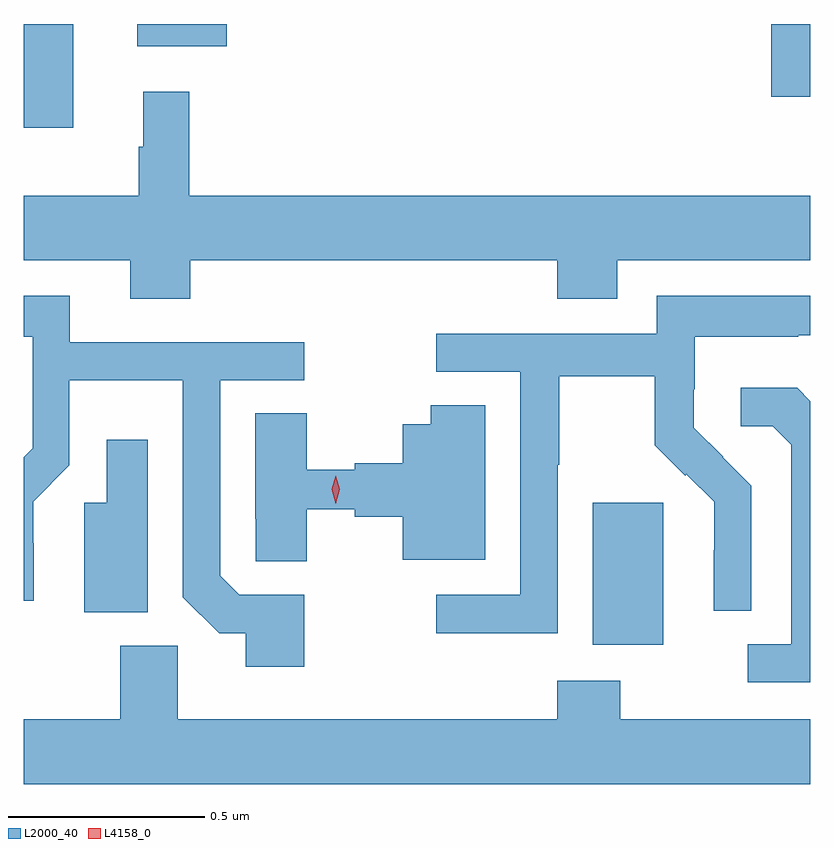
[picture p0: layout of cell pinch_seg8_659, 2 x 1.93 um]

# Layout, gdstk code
import gdstk
lib = gdstk.Library(unit=1e-6, precision=1e-09)
def R(c, l, rs):  # rectangles x0, y0, x1, y1
    for r in rs: c.add(gdstk.rectangle(r[:2], r[2:], *l))
def P(c, l, *ps):  # polygons
    for p in ps: c.add(gdstk.Polygon(p, *l))
L2000_40 = (2000, 40)
L4158_0 = (4158, 0)

pinch_seg8_659 = lib.new_cell('pinch_seg8_659')
R(pinch_seg8_659, L2000_40, [(282.317,1110.194,282.496,1110.555), (280.87,1111.508,280.996,1111.772), (282.77,1111.587,282.87,1111.772), (281.159,1111.715,281.386,1111.772)])
P(pinch_seg8_659, L2000_40, [(281.291,1111.6),(281.174,1111.6),(281.174,1111.46),(281.163,1111.46),(281.163,1111.336),(280.87,1111.336),(280.87,1111.172),(281.141,1111.172),(281.141,1111.073),(281.294,1111.073),(281.294,1111.172),(282.227,1111.172),(282.227,1111.073),(282.379,1111.073),(282.379,1111.172),(282.87,1111.172),(282.87,1111.336),(281.291,1111.336)],
  [(281.583,1110.321),(281.418,1110.321),(281.37,1110.369),(281.37,1110.867),(281.584,1110.867),(281.584,1110.963),(280.987,1110.963),(280.987,1111.081),(280.87,1111.081),(280.87,1110.977),(280.893,1110.977),(280.893,1110.693),(280.87,1110.67),(280.87,1110.306),(280.896,1110.306),(280.896,1110.452),(280.895,1110.452),(280.895,1110.558),(280.986,1110.65),(280.986,1110.866),(281.274,1110.866),(281.274,1110.315),(281.367,1110.223),(281.435,1110.223),(281.435,1110.138),(281.583,1110.138)],
  [(282.228,1110.652),(282.231,1110.652),(282.231,1110.876),(282.475,1110.876),(282.475,1110.701),(282.552,1110.624),(282.555,1110.627),(282.626,1110.557),(282.626,1110.434),(282.624,1110.434),(282.624,1110.28),(282.72,1110.28),(282.72,1110.598),(282.647,1110.671),(282.648,1110.672),(282.574,1110.746),(282.574,1110.843),(282.576,1110.843),(282.576,1110.977),(282.839,1110.977),(282.839,1110.981),(282.87,1110.981),(282.87,1111.081),(282.48,1111.081),(282.48,1110.984),(281.919,1110.984),(281.919,1110.888),(282.132,1110.888),(282.132,1110.321),(281.919,1110.321),(281.919,1110.223),(282.228,1110.223)],
  [(282.87,1110.813),(282.836,1110.847),(282.693,1110.847),(282.693,1110.75),(282.774,1110.75),(282.821,1110.703),(282.821,1110.195),(282.711,1110.195),(282.711,1110.099),(282.87,1110.099)],
  [(281.59,1110.539),(281.712,1110.539),(281.712,1110.52),(281.834,1110.52),(281.834,1110.41),(282.043,1110.41),(282.043,1110.803),(281.905,1110.803),(281.905,1110.754),(281.834,1110.754),(281.834,1110.656),(281.712,1110.656),(281.712,1110.639),(281.59,1110.639),(281.59,1110.782),(281.459,1110.782),(281.459,1110.514),(281.46,1110.514),(281.46,1110.406),(281.59,1110.406)],
  [(281.185,1110.715),(281.081,1110.715),(281.081,1110.555),(281.024,1110.555),(281.024,1110.277),(281.185,1110.277)],
  [(282.87,1110.004),(282.387,1110.004),(282.387,1110.103),(282.227,1110.103),(282.227,1110.004),(281.262,1110.004),(281.262,1110.192),(281.116,1110.192),(281.116,1110.004),(280.87,1110.004),(280.87,1109.84),(282.87,1109.84)])
P(pinch_seg8_659, L4158_0, [(281.663,1110.553),(281.663,1110.553),(281.653,1110.589),(281.663,1110.624),(281.663,1110.624),(281.663,1110.624),(281.673,1110.589),(281.663,1110.553)])

lib.write_gds('pinch_seg8_659.gds')
